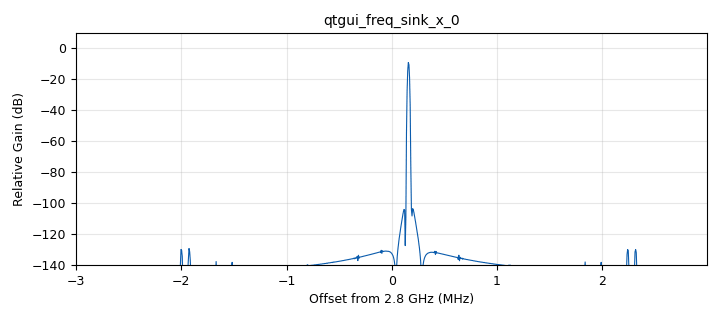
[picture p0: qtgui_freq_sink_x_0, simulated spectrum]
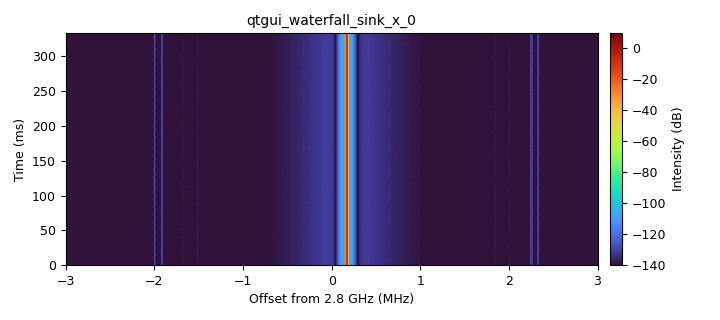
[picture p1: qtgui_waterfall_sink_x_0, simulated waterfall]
options:
  parameters:
    author: simon
    generate_options: qt_gui
    id: untitled
    output_language: python
    title: Not titled yet
  states: {}

blocks:
- name: IF_freq
  id: variable
  parameters:
    value: 2.16e6
  states: {}
- name: LO_freq
  id: variable
  parameters:
    value: 2800e6
  states: {}
- name: freq_dev
  id: variable
  parameters:
    value: 200e6
  states: {}
- name: frequency
  id: variable_qtgui_label
  parameters:
    label: frequency
    type: real
    value: LO_freq
  states: {}
- name: samp_rate
  id: variable
  parameters:
    value: 6e6
  states: {}
- name: analog_noise_source_x_0
  id: analog_noise_source_x
  parameters:
    amp: '0.01'
    noise_type: analog.GR_GAUSSIAN
    seed: '0'
    type: complex
  states: {state: disabled}
- name: analog_sig_source_x_0_0
  id: analog_sig_source_x
  parameters:
    amp: '1'
    freq: LO_freq
    offset: '0'
    phase: '0'
    samp_rate: samp_rate
    type: complex
    waveform: analog.GR_COS_WAVE
  states: {}
- name: analog_sig_source_x_0_0_0
  id: analog_sig_source_x
  parameters:
    amp: '1'
    freq: IF_freq
    offset: '0'
    phase: '0'
    samp_rate: samp_rate
    type: complex
    waveform: analog.GR_COS_WAVE
  states: {}
- name: blocks_add_xx_0
  id: blocks_add_xx
  parameters:
    num_inputs: '3'
    type: complex
  states: {state: disabled}
- name: blocks_multiply_xx_0
  id: blocks_multiply_xx
  parameters:
    type: complex
  states: {}
- name: qtgui_freq_sink_x_0
  id: qtgui_freq_sink_x
  parameters:
    bw: samp_rate
    fc: LO_freq
    fftsize: '1024'
    grid: 'True'
    type: complex
  states: {}
- name: qtgui_waterfall_sink_x_0
  id: qtgui_waterfall_sink_x
  parameters:
    bw: samp_rate
    fc: LO_freq
    fftsize: '1024'
    grid: 'True'
    type: complex
  states: {}

connections:
- [analog_noise_source_x_0, '0', blocks_add_xx_0, '1']
- [analog_sig_source_x_0_0, '0', blocks_multiply_xx_0, '0']
- [analog_sig_source_x_0_0_0, '0', blocks_multiply_xx_0, '1']
- [blocks_add_xx_0, '0', qtgui_freq_sink_x_0, '0']
- [blocks_add_xx_0, '0', qtgui_waterfall_sink_x_0, '0']
- [blocks_multiply_xx_0, '0', blocks_add_xx_0, '0']
- [blocks_multiply_xx_0, '0', qtgui_freq_sink_x_0, '0']
- [blocks_multiply_xx_0, '0', qtgui_waterfall_sink_x_0, '0']

metadata:
  file_format: 1
  grc_version: 3.10.11.0
